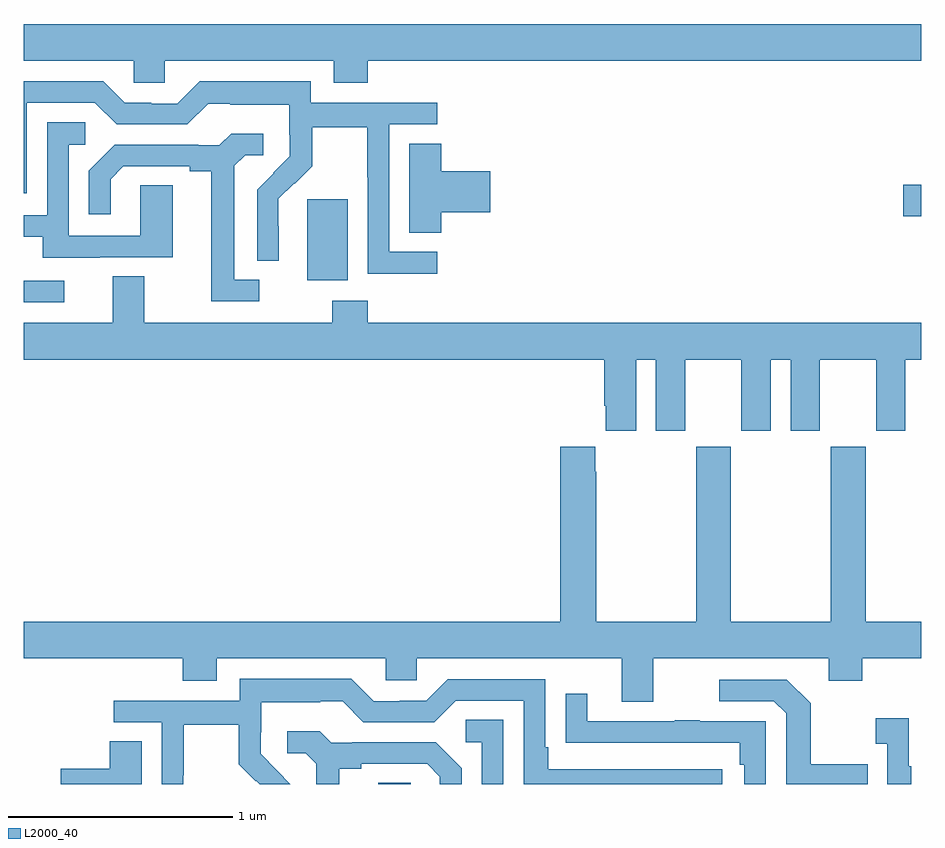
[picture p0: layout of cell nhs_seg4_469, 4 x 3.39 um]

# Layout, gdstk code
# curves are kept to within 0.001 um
import gdstk
lib = gdstk.Library(unit=1e-6, precision=1e-09)
def R(c, l, rs):  # rectangles x0, y0, x1, y1
    for r in rs: c.add(gdstk.rectangle(r[:2], r[2:], *l))
def P(c, l, *ps):  # polygons
    for p in ps: c.add(gdstk.Polygon(p, *l))
L2000_40 = (2000, 40)

nhs_seg4_469 = lib.new_cell('nhs_seg4_469')
R(nhs_seg4_469, L2000_40, [(134.579,822.9,134.724,822.905), (133,825.048,133.18,825.144), (134.264,825.146,134.443,825.507), (136.92,825.43,137,825.572)])
P(nhs_seg4_469, L2000_40, [(134.534,826.124),(137,826.124),(137,826.288),(133,826.288),(133,826.124),(133.491,826.124),(133.491,826.026),(133.629,826.026),(133.629,826.124),(134.381,826.124),(134.381,826.025),(134.534,826.025)],
  [(134.842,825.273),(134.628,825.273),(134.628,825.84),(134.842,825.84),(134.842,825.936),(134.28,825.936),(134.28,826.033),(133.783,826.033),(133.683,825.933),(133.568,825.933),(133.568,825.936),(133.449,825.936),(133.353,826.032),(133,826.032),(133,825.534),(133.014,825.534),(133.014,825.936),(133.317,825.936),(133.413,825.84),(133.728,825.84),(133.821,825.933),(133.921,825.933),(133.921,825.929),(134.184,825.929),(134.184,825.795),(134.186,825.795),(134.186,825.698),(134.04,825.55),(134.04,825.232),(134.136,825.232),(134.135,825.509),(134.205,825.579),(134.208,825.576),(134.285,825.653),(134.285,825.828),(134.53,825.828),(134.53,825.604),(134.532,825.604),(134.532,825.175),(134.842,825.175)],
  [(133.339,825.249),(133.663,825.249),(133.663,825.569),(133.518,825.569),(133.518,825.345),(133.2,825.345),(133.2,825.75),(133.273,825.75),(133.273,825.851),(133.104,825.851),(133.104,825.435),(133,825.435),(133,825.339),(133.085,825.339),(133.085,825.245),(133.339,825.245)],
  [(134.05,825.147),(133.939,825.147),(133.939,825.655),(133.986,825.702),(134.068,825.702),(134.068,825.799),(133.924,825.799),(133.872,825.747),(133.778,825.747),(133.778,825.75),(133.406,825.75),(133.29,825.634),(133.29,825.441),(133.387,825.441),(133.387,825.597),(133.444,825.654),(133.739,825.654),(133.739,825.632),(133.835,825.632),(133.835,825.051),(134.05,825.051)],
  [(134.861,825.449),(135.079,825.449),(135.079,825.632),(134.861,825.632),(134.861,825.755),(134.717,825.755),(134.717,825.358),(134.861,825.358)],
  [(135.73,824.792),(135.818,824.792),(135.818,824.475),(135.949,824.475),(135.949,824.792),(136.199,824.792),(136.199,824.475),(136.33,824.475),(136.33,824.792),(136.418,824.792),(136.418,824.475),(136.549,824.475),(136.549,824.792),(136.799,824.792),(136.799,824.475),(136.93,824.475),(136.93,824.792),(137,824.792),(137,824.956),(134.534,824.956),(134.534,825.055),(134.374,825.055),(134.374,824.956),(133.537,824.956),(133.537,825.164),(133.397,825.164),(133.397,824.956),(133,824.956),(133,824.792),(135.587,824.792),(135.587,824.587),(135.593,824.587),(135.593,824.475),(135.73,824.475)],
  [(135.805,823.46),(136.589,823.46),(136.589,823.361),(136.737,823.361),(136.737,823.46),(137,823.46),(137,823.624),(136.752,823.624),(136.752,824.404),(136.597,824.404),(136.597,823.624),(136.152,823.624),(136.152,824.404),(135.997,824.404),(135.997,823.624),(135.552,823.624),(135.552,824.291),(135.547,824.291),(135.547,824.404),(135.392,824.404),(135.392,823.624),(133,823.624),(133,823.46),(133.709,823.46),(133.709,823.361),(133.861,823.361),(133.861,823.46),(134.613,823.46),(134.613,823.362),(134.751,823.362),(134.751,823.46),(135.665,823.46),(135.665,823.266),(135.805,823.266)],
  [(133.71,822.94),(133.713,822.94),(133.713,823.164),(133.957,823.164),(133.957,822.989),(134.034,822.912),(134.037,822.915),(134.052,822.9),(134.188,822.9),(134.056,823.034),(134.056,823.131),(134.058,823.131),(134.058,823.265),(134.321,823.265),(134.321,823.269),(134.421,823.269),(134.514,823.176),(134.829,823.176),(134.925,823.272),(135.228,823.272),(135.228,822.9),(136.114,822.9),(136.114,822.966),(135.337,822.966),(135.337,823.063),(135.324,823.063),(135.324,823.368),(134.889,823.368),(134.793,823.272),(134.675,823.272),(134.675,823.269),(134.559,823.269),(134.459,823.369),(133.962,823.369),(133.962,823.272),(133.401,823.272),(133.401,823.176),(133.614,823.176),(133.614,822.9),(133.71,822.9)],
  [(136.763,822.987),(136.507,822.987),(136.507,823.259),(136.401,823.365),(136.101,823.365),(136.101,823.269),(136.344,823.269),(136.398,823.215),(136.398,822.9),(136.763,822.9)],
  [(136.308,823.179),(136.013,823.179),(136.013,823.184),(135.901,823.184),(135.901,823.179),(135.511,823.179),(135.511,823.303),(135.415,823.303),(135.415,823.084),(135.517,823.084),(135.517,823.083),(136.192,823.083),(136.192,822.986),(136.212,822.986),(136.212,822.9),(136.308,822.9)],
  [(136.957,822.979),(136.945,822.979),(136.945,823.192),(136.797,823.192),(136.797,823.079),(136.848,823.079),(136.848,822.9),(136.957,822.9)],
  [(135.138,823.187),(134.97,823.187),(134.97,823.086),(135.042,823.086),(135.042,822.9),(135.138,822.9)],
  [(134.407,822.968),(134.503,822.968),(134.503,822.99),(134.798,822.99),(134.855,822.933),(134.855,822.9),(134.952,822.9),(134.952,822.97),(134.836,823.086),(134.464,823.086),(134.464,823.083),(134.37,823.083),(134.318,823.135),(134.175,823.135),(134.175,823.038),(134.256,823.038),(134.303,822.991),(134.303,822.9),(134.407,822.9)],
  [(133.525,823.091),(133.382,823.091),(133.382,822.968),(133.164,822.968),(133.164,822.9),(133.525,822.9)])

lib.write_gds('nhs_seg4_469.gds')
